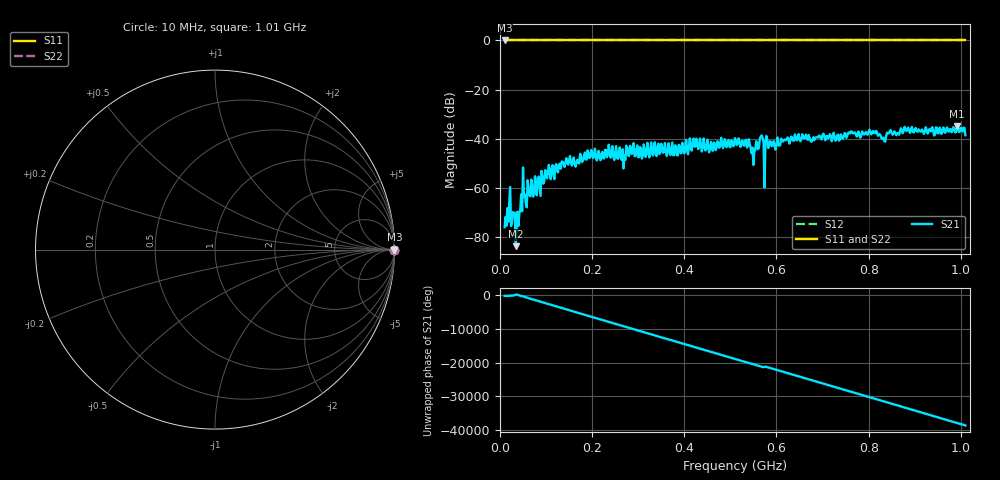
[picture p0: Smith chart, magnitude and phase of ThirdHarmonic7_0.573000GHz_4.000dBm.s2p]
! 8/17/2025 5:43:08 PM
! C:\ANRITSUVNA\TEMP\TEMP.S2P
! CHANNEL.1
! TR.MEASUREMENT
! RAW.DATA
! RF.CORRECTION.OFF
! AVERAGING.OFF
! IF.BANDWIDTH: 5KHZ
! SWEEPTYPE:  FREQ.SWEEP(Linear)
! Reference Plane Port Info
! PORT:  PORT1  PORT2
! DISTANCE:  0  m  0  m
! TIME:  0  s  0  s
! PHASE.OFFSET:  0  deg.  0  deg.
! LOSS:  0  dB  0  dB
! REF.LOSS:  0  dB  0  dB
! REF.FREQ:  0  Hz  0  Hz
! Power Info
! POWER:  -20  dBm  -20  dBm
! EFF.POWER:  -20  dBm  -20  dBm
! SOURCE.ATTEN:  0  dB  0  dB
! TEST.ATTEN:  0  dB  0  dB
# GHZ S RI R 50.0
! FREQ.GHZ  S11RE  S11IM  S21RE  S21IM  S12RE  S12IM  S22RE  S22IM
!; PortSelection: Port_12
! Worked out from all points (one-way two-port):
!   501 points, 10 MHz to 1.01 GHz, reference 50 ohm
!   highest |S21| = -34.91 dB at 992 MHz (marker M1); lowest = -83.7 dB at 34 MHz (marker M2)
!   lowest |S11| = 0.0 dB at 10 MHz (marker M3)
!   |S11| at or under -10 dB: nowhere
!   |S22| runs from 0.0 to 0.0 dB; largest |S21 - S12| = 1
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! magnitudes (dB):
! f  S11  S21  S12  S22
! 10 MHz  0.0  -75.9  0.0  0.0
! 18 MHz  0.0  -73.7  0.0  0.0
! 34 MHz  0.0  -83.7  0.0  0.0
! 38 MHz  0.0  -69.6  0.0  0.0
! 50 MHz  0.0  -51.7  0.0  0.0
! 76 MHz  0.0  -55.2  0.0  0.0
! 102 MHz  0.0  -56.0  0.0  0.0
! 178 MHz  0.0  -49.4  0.0  0.0
! 344 MHz  0.0  -42.0  0.0  0.0
! 510 MHz  0.0  -39.8  0.0  0.0
! 536 MHz  0.0  -43.5  0.0  0.0
! 550 MHz  0.0  -50.6  0.0  0.0
! 568 MHz  0.0  -38.6  0.0  0.0
! 570 MHz  0.0  -39.7  0.0  0.0
! 578 MHz  0.0  -38.8  0.0  0.0
! 582 MHz  0.0  -43.7  0.0  0.0
! 678 MHz  0.0  -40.6  0.0  0.0
! 806 MHz  0.0  -38.2  0.0  0.0
! 832 MHz  0.0  -39.5  0.0  0.0
! 844 MHz  0.0  -37.8  0.0  0.0
! 992 MHz  0.0  -34.9  0.0  0.0
! 1.01 GHz  0.0  -38.5  0.0  0.0
